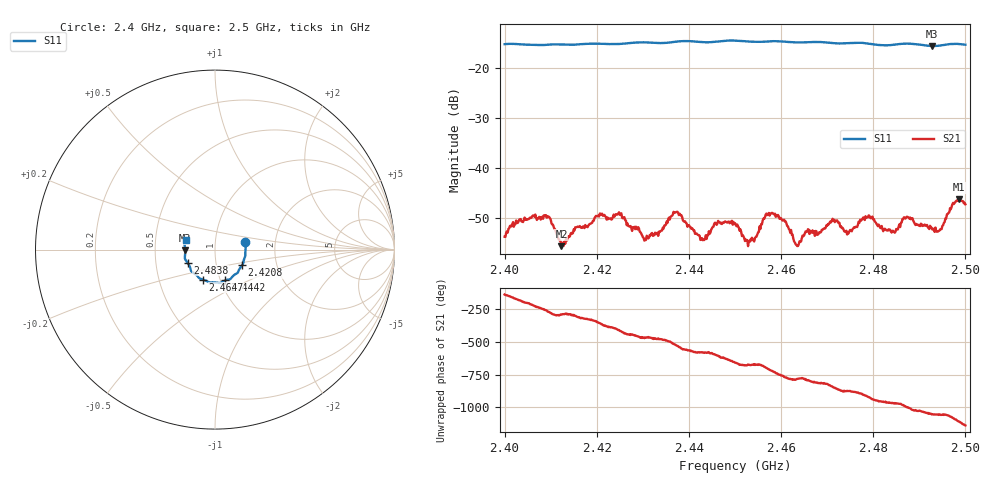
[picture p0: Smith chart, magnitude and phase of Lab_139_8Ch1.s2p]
# Hz S RI R 50
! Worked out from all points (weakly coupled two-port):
!   601 points, 2.4 GHz to 2.5 GHz, reference 50 ohm
!   highest |S21| = -46.35 dB at 2.4987 GHz (marker M1); lowest = -55.7 dB at 2.4123 GHz (marker M2)
!   lowest |S11| = -15.6 dB at 2.4928 GHz (marker M3), VSWR 1.40, Z = 35.8 - j0.352 ohm
!   |S11| at or under -10 dB: start of sweep to end of sweep
!   S12 and S22 are empty: the file has one direction only
!   S11 on the Smith chart (normalised r, x): 2.4 GHz: 1.40, +0.12; 2.4208 GHz: 1.33, -0.24; 2.4442 GHz: 1.05, -0.37; 2.4647 GHz: 0.83, -0.29; 2.4838 GHz: 0.73, -0.11; 2.5 GHz: 0.72, +0.08
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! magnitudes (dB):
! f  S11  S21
! 2.4 GHz  -15.3  -53.8
! 2.409 GHz  -15.4  -49.5
! 2.4123 GHz  -15.3  -55.7
! 2.4167 GHz  -15.2  -52.0
! 2.4208 GHz  -15.2  -49.2
! 2.4333 GHz  -15.0  -53.7
! 2.4372 GHz  -14.7  -48.9
! 2.4442 GHz  -14.9  -53.5
! 2.45 GHz  -14.5  -51.1
! 2.453 GHz  -14.7  -54.8
! 2.4582 GHz  -14.7  -49.1
! 2.4633 GHz  -14.9  -55.5
! 2.4647 GHz  -14.9  -53.6
! 2.4667 GHz  -14.8  -53.0
! 2.4748 GHz  -15.0  -52.7
! 2.4788 GHz  -15.1  -49.9
! 2.4833 GHz  -15.5  -52.3
! 2.4838 GHz  -15.4  -52.8
! 2.4872 GHz  -15.1  -50.0
! 2.4928 GHz  -15.6  -52.4
! 2.4987 GHz  -15.2  -46.3
! 2.5 GHz  -15.3  -47.3
